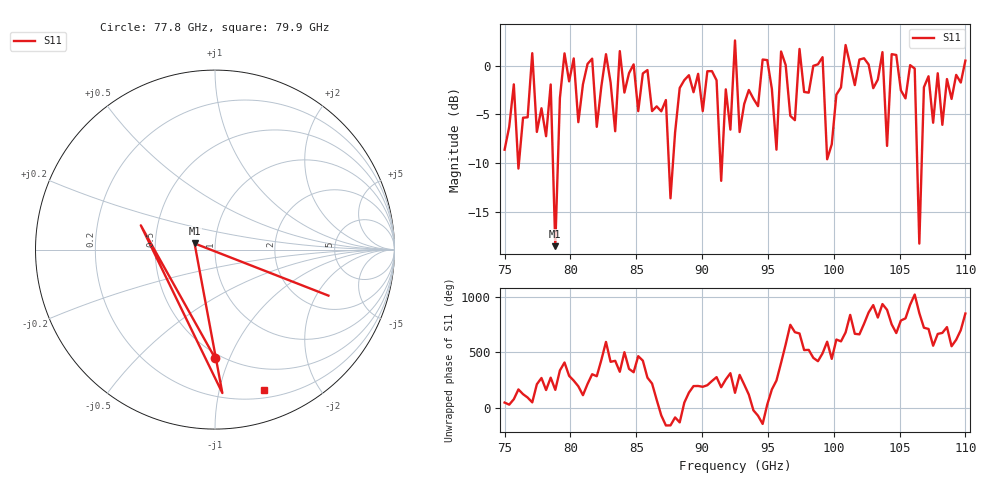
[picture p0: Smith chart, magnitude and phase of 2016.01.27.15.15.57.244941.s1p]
!Created with skrf (http://scikit-rf.org).
# GHz S RI R 50.0
!freq ReS11 ImS11
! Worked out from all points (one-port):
!   101 points, 75 GHz to 110 GHz, reference 50 ohm
!   lowest |S11| = -18.5 dB at 78.85 GHz (marker M1), VSWR 1.27, Z = 39.7 + j2.77 ohm
!   |S11| at or under -10 dB: 76.02799 GHz to 76.08646 GHz (58.46 MHz wide, 0.0769 % of centre); 78.67054 GHz to 79.04589 GHz (375.3 MHz wide, 0.476 % of centre); 87.47516 GHz to 87.78606 GHz (310.9 MHz wide, 0.355 % of centre) (the widest 3 of 5)
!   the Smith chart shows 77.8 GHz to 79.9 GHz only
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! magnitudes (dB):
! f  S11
! 75 GHz  -8.6
! 78.5 GHz  -1.9
! 78.85 GHz  -18.5
! 79.55 GHz  1.2
! 83.4 GHz  -6.7
! 83.75 GHz  1.5
! 87.25 GHz  -3.5
! 87.6 GHz  -13.6
! 88.3 GHz  -2.3
! 91.1 GHz  -1.5
! 91.45 GHz  -11.8
! 92.5 GHz  2.6
! 92.85 GHz  -6.8
! 94.95 GHz  0.6
! 95.65 GHz  -8.6
! 96 GHz  1.4
! 97.05 GHz  -5.6
! 99.15 GHz  0.9
! 99.5 GHz  -9.6
! 101.2 GHz  0.1
! 103.7 GHz  1.4
! 104 GHz  -8.2
! 104.4 GHz  1.2
! 105.8 GHz  0.0
! 106.2 GHz  -0.3
! 106.5 GHz  -18.2
! 106.8 GHz  -2.2
! 110 GHz  0.5
